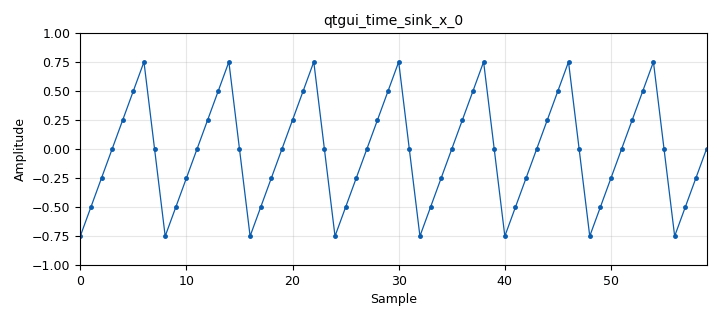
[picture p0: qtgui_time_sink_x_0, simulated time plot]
options:
  parameters:
    category: Custom
    description: Adapted from GNU Radio's own example (gr-blocks/examples/vector_source_with_tags.grc).
    generate_options: qt_gui
    id: vector_source_with_tags
    output_language: python
    title: Vector Source With Tags Demo
  states: {}

blocks:
- name: samp_rate
  id: variable
  parameters:
    value: '32000'
  states: {}
- name: tag0
  id: variable_tag_object
  parameters:
    key: pmt.intern("mark")
    offset: '0'
    src: pmt.intern("src")
    value: pmt.PMT_T
  states: {}
- name: tag1
  id: variable_tag_object
  parameters:
    key: pmt.intern("mark2")
    offset: '2'
    src: pmt.intern("tag1")
    value: pmt.from_long(12345)
  states: {}
- name: blocks_tag_debug_0
  id: blocks_tag_debug
  parameters:
    type: float
  states: {state: disabled}
- name: blocks_throttle2_0
  id: blocks_throttle2
  parameters:
    samples_per_second: samp_rate
    type: float
  states: {}
- name: blocks_vector_source_x_0
  id: blocks_vector_source_x
  parameters:
    repeat: 'True'
    tags: '[tag0, tag1]'
    type: float
    vector: (-0.75, -0.5, -0.25, 0.0, 0.25, 0.5, 0.75, 0.0)
  states: {}
- name: qtgui_time_sink_x_0
  id: qtgui_time_sink_x
  parameters:
    grid: 'True'
    label1: ''
    marker1: '0'
    size: '60'
    tr_mode: qtgui.TRIG_MODE_TAG
    tr_tag: mark
    type: float
    samp_rate: samp_rate
  states: {}

connections:
- [blocks_throttle2_0, '0', blocks_tag_debug_0, '0']
- [blocks_throttle2_0, '0', qtgui_time_sink_x_0, '0']
- [blocks_vector_source_x_0, '0', blocks_throttle2_0, '0']

metadata:
  file_format: 1
  grc_version: 3.10.10.0
